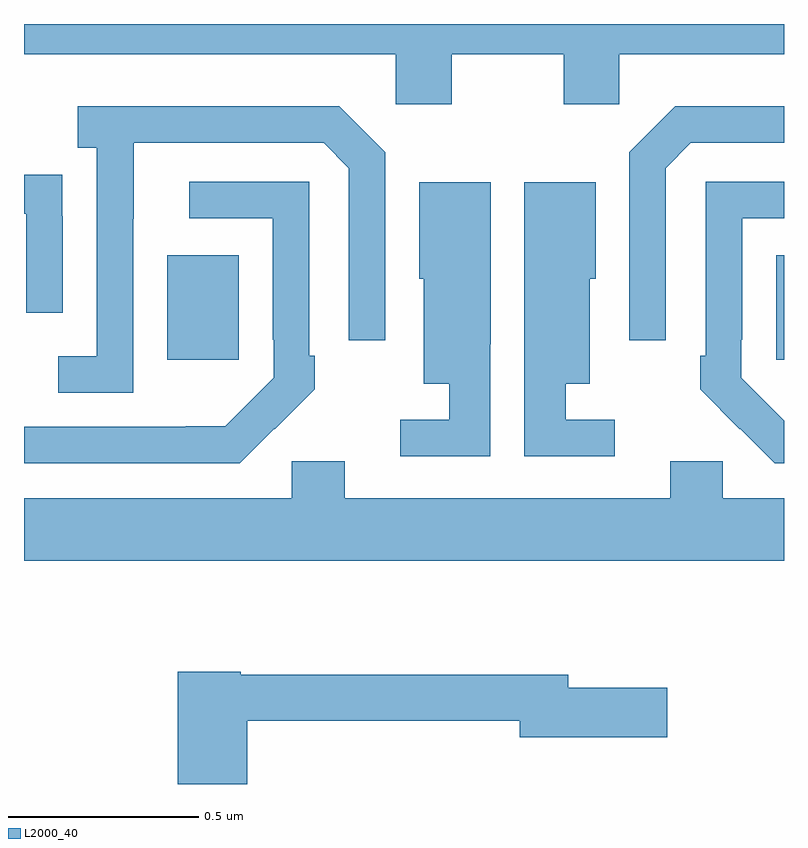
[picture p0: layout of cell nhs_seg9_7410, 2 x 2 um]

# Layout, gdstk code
import gdstk
lib = gdstk.Library(unit=1e-6, precision=1e-09)
def R(c, l, rs):  # rectangles x0, y0, x1, y1
    for r in rs: c.add(gdstk.rectangle(r[:2], r[2:], *l))
def P(c, l, *ps):  # polygons
    for p in ps: c.add(gdstk.Polygon(p, *l))
L2000_40 = (2000, 40)

nhs_seg9_7410 = lib.new_cell('nhs_seg9_7410')
R(nhs_seg9_7410, L2000_40, [(204.377,1195.617,204.565,1195.891), (205.979,1195.617,206,1195.891)])
P(nhs_seg9_7410, L2000_40, [(205.125,1196.42),(205.42,1196.42),(205.42,1196.289),(205.566,1196.289),(205.566,1196.42),(206,1196.42),(206,1196.5),(204,1196.5),(204,1196.42),(204.978,1196.42),(204.978,1196.289),(205.125,1196.289)],
  [(205.689,1196.121),(205.755,1196.187),(206,1196.187),(206,1196.284),(205.714,1196.284),(205.593,1196.163),(205.593,1195.668),(205.689,1195.668)],
  [(204.288,1195.987),(204.289,1195.987),(204.289,1196.187),(204.789,1196.187),(204.855,1196.121),(204.855,1195.668),(204.951,1195.668),(204.951,1196.163),(204.83,1196.284),(204.141,1196.284),(204.141,1196.174),(204.192,1196.174),(204.192,1195.626),(204.09,1195.626),(204.09,1195.53),(204.288,1195.53)],
  [(204.102,1195.994),(204.101,1195.994),(204.101,1196.103),(204,1196.103),(204,1196.001),(204.006,1196.001),(204.006,1195.74),(204.102,1195.74)],
  [(204.659,1195.435),(204.66,1195.434),(204.765,1195.539),(204.765,1195.627),(204.75,1195.627),(204.75,1196.085),(204.435,1196.085),(204.435,1195.989),(204.654,1195.989),(204.654,1195.669),(204.657,1195.669),(204.657,1195.569),(204.529,1195.441),(204.425,1195.441),(204.425,1195.44),(204,1195.44),(204,1195.344),(204.568,1195.344)],
  [(206,1195.456),(205.887,1195.569),(205.887,1195.669),(205.89,1195.669),(205.89,1195.989),(206,1195.989),(206,1196.085),(205.794,1196.085),(205.794,1195.627),(205.779,1195.627),(205.779,1195.539),(205.884,1195.434),(205.885,1195.435),(205.976,1195.344),(206,1195.344)],
  [(205.555,1195.458),(205.426,1195.458),(205.426,1195.553),(205.489,1195.553),(205.489,1195.83),(205.504,1195.83),(205.504,1196.083),(205.316,1196.083),(205.316,1195.657),(205.317,1195.657),(205.317,1195.362),(205.555,1195.362)],
  [(205.227,1195.657),(205.228,1195.657),(205.228,1196.083),(205.04,1196.083),(205.04,1195.83),(205.052,1195.83),(205.052,1195.553),(205.119,1195.553),(205.119,1195.458),(204.99,1195.458),(204.99,1195.362),(205.227,1195.362)],
  [(206,1195.252),(205.839,1195.252),(205.839,1195.35),(205.7,1195.35),(205.7,1195.252),(204.844,1195.252),(204.844,1195.35),(204.705,1195.35),(204.705,1195.252),(204,1195.252),(204,1195.088),(206,1195.088)],
  [(204.587,1194.666),(205.304,1194.666),(205.304,1194.623),(205.693,1194.623),(205.693,1194.753),(205.432,1194.753),(205.432,1194.787),(204.57,1194.787),(204.57,1194.795),(204.404,1194.795),(204.404,1194.5),(204.587,1194.5)])

lib.write_gds('nhs_seg9_7410.gds')
